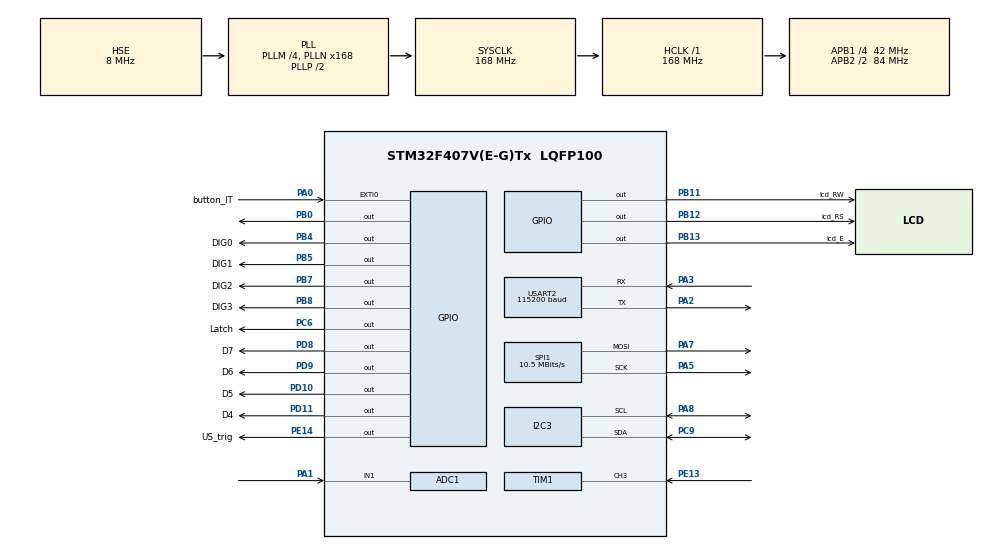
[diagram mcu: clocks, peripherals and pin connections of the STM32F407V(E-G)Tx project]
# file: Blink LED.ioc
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ADC1.Channel-0\#ChannelRegularConversion=ADC_CHANNEL_1
ADC1.ContinuousConvMode=ENABLE
ADC1.ExternalTrigConv=ADC_SOFTWARE_START
ADC1.NbrOfConversionFlag=1
ADC1.Rank-0\#ChannelRegularConversion=1
ADC1.Resolution=ADC_RESOLUTION_12B
ADC1.SamplingTime-0\#ChannelRegularConversion=ADC_SAMPLETIME_3CYCLES
ADC1.ScanConvMode=DISABLE
ADC1.master=1
I2C3.DualAddressMode=I2C_DUALADDRESS_DISABLE
I2C3.GeneralCallMode=I2C_GENERALCALL_DISABLE
I2C3.I2C_Mode=I2C_Fast
Mcu.Family=STM32F4
Mcu.Name=STM32F407V(E-G)Tx
Mcu.Package=LQFP100
NVIC.ADC_IRQn=true\:0\:0\:false\:false\:true\:true\:true\:true
NVIC.EXTI0_IRQn=true\:0\:0\:false\:false\:true\:true\:true\:true
NVIC.I2C3_EV_IRQn=true\:0\:0\:false\:false\:true\:true\:true\:true
NVIC.PriorityGroup=NVIC_PRIORITYGROUP_4
NVIC.SPI1_IRQn=true\:0\:0\:false\:false\:true\:true\:true\:true
NVIC.TIM1_CC_IRQn=true\:0\:0\:false\:false\:true\:true\:true\:true
NVIC.TIM4_IRQn=true\:0\:0\:false\:false\:true\:true\:true\:true
NVIC.USART2_IRQn=true\:0\:0\:false\:false\:true\:true\:true\:true
PA0-WKUP.GPIO_Label=button_IT
PA0-WKUP.Signal=GPXTI0
PA1.Signal=ADCx_IN1
PA13.Mode=Serial_Wire
PA13.Signal=SYS_JTMS-SWDIO
PA14.Mode=Serial_Wire
PA14.Signal=SYS_JTCK-SWCLK
PA2.Mode=Asynchronous
PA2.Signal=USART2_TX
PA3.Mode=Asynchronous
PA3.Signal=USART2_RX
PA5.Mode=TX_Only_Simplex_Unidirect_Master
PA5.Signal=SPI1_SCK
PA7.Mode=TX_Only_Simplex_Unidirect_Master
PA7.Signal=SPI1_MOSI
PA8.Mode=I2C
PA8.Signal=I2C3_SCL
PB0.Signal=GPIO_Output
PB11.GPIO_Label=lcd_RW
PB11.Signal=GPIO_Output
PB12.GPIO_Label=lcd_RS
PB12.Signal=GPIO_Output
PB13.GPIO_Label=lcd_E
PB13.Signal=GPIO_Output
PB4.GPIO_Label=DIG0
PB4.GPIO_Speed=GPIO_SPEED_FREQ_LOW
PB4.Signal=GPIO_Output
PB5.GPIO_Label=DIG1
PB5.GPIO_Speed=GPIO_SPEED_FREQ_LOW
PB5.Signal=GPIO_Output
PB7.GPIO_Label=DIG2
PB7.Signal=GPIO_Output
PB8.GPIO_Label=DIG3
PB8.Signal=GPIO_Output
PC6.GPIO_Label=Latch
PC6.PinState=GPIO_PIN_RESET
PC6.Signal=GPIO_Output
PC9.Mode=I2C
PC9.Signal=I2C3_SDA
PD10.GPIO_Label=D5
PD10.Signal=GPIO_Output
PD11.GPIO_Label=D4
PD11.Signal=GPIO_Output
PD8.GPIO_Label=D7
PD8.Signal=GPIO_Output
PD9.GPIO_Label=D6
PD9.Signal=GPIO_Output
PE13.Signal=S_TIM1_CH3
PE14.GPIO_Label=US_trig
PE14.Signal=GPIO_Output
PH0-OSC_IN.Mode=HSE-External-Oscillator
PH0-OSC_IN.Signal=RCC_OSC_IN
PH1-OSC_OUT.Mode=HSE-External-Oscillator
PH1-OSC_OUT.Signal=RCC_OSC_OUT
ProjectManager.HeapSize=0x200
ProjectManager.StackSize=0x400
ProjectManager.TargetToolchain=STM32CubeIDE
RCC.48MHZClocksFreq_Value=84000000
RCC.AHBFreq_Value=168000000
RCC.APB1CLKDivider=RCC_HCLK_DIV4
RCC.APB1Freq_Value=42000000
RCC.APB1TimFreq_Value=84000000
RCC.APB2CLKDivider=RCC_HCLK_DIV2
RCC.APB2Freq_Value=84000000
RCC.APB2TimFreq_Value=168000000
RCC.CortexFreq_Value=168000000
RCC.HCLKFreq_Value=168000000
RCC.HSE_VALUE=8000000
RCC.HSI_VALUE=16000000
RCC.LSE_Timout=5000
RCC.LSE_VALUE=32768
RCC.PLLM=4
RCC.PLLN=168
RCC.PLLSourceVirtual=RCC_PLLSOURCE_HSE
RCC.RCC_MCO1Source=RCC_MCO1SOURCE_PLLCLK
RCC.RCC_RTC_Clock_Source=RCC_RTCCLKSOURCE_LSI
RCC.RCC_RTC_Clock_SourceVirtual=RCC_RTCCLKSOURCE_HSE_DIV10
RCC.RCC_RTC_Clock_Source_FROM_HSE=RCC_RTCCLKSOURCE_HSE_DIV10
RCC.SYSCLKFreq_VALUE=168000000
RCC.SYSCLKSource=RCC_SYSCLKSOURCE_PLLCLK
RCC.VCOOutputFreq_Value=336000000
RTC.Date=4
RTC.Format=RTC_FORMAT_BIN
RTC.HourFormat=RTC_HOURFORMAT_24
RTC.Hours=12
RTC.Minutes=49
RTC.Month=RTC_MONTH_NOVEMBER
RTC.Seconds=23
RTC.SynchPrediv=255
RTC.WeekDay=RTC_WEEKDAY_FRIDAY
RTC.Year=22
SH.ADCx_IN1.0=ADC1_IN1,IN1
SH.S_TIM1_CH3.0=TIM1_CH3,Input_Capture3_from_TI3
SPI1.BaudRatePrescaler=SPI_BAUDRATEPRESCALER_8
SPI1.CalculateBaudRate=10.5 MBits/s
SPI1.Direction=SPI_DIRECTION_2LINES
SPI1.Mode=SPI_MODE_MASTER
SPI1.VirtualType=VM_MASTER
TIM1.Channel-Input_Capture3_from_TI3=TIM_CHANNEL_3
TIM1.Period=65536 - 1
TIM1.Prescaler=168 - 1
TIM4.AutoReloadPreload=TIM_AUTORELOAD_PRELOAD_DISABLE
TIM4.Period=10000 - 1
TIM4.Prescaler=8400 - 1
USART2.BaudRate=115200
USART2.VirtualMode=VM_ASYNC
VP_RTC_VS_RTC_Activate.Mode=RTC_Enabled
VP_RTC_VS_RTC_Calendar.Mode=RTC_Calendar
VP_TIM4_VS_ClockSourceINT.Mode=Internal
board=custom

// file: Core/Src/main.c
/* USER CODE BEGIN Header */
/**
  ******************************************************************************
  * @file           : main.c
  * @brief          : Main program body
  ******************************************************************************
  * @attention
  *
  * Copyright (c) 2022 STMicroelectronics.
  * All rights reserved.
  *
  * This software is licensed under terms that can be found in the LICENSE file
  * in the root directory of this software component.
  * If no LICENSE file comes with this software, it is provided AS-IS.
  *
  ******************************************************************************
  */
/* USER CODE END Header */
#include "main.h"

/* USER CODE BEGIN Includes */
#include "stdbool.h"
#include "button_debounce.h"
#include "stdio.h"
#include "lcd.h"
#include "tmp75.h"
#include "sonicsensor.h"
/* USER CODE END Includes */

ADC_HandleTypeDef hadc1;

I2C_HandleTypeDef hi2c3;

RTC_HandleTypeDef hrtc;

SPI_HandleTypeDef hspi1;

TIM_HandleTypeDef htim1;
TIM_HandleTypeDef htim4;

UART_HandleTypeDef huart2;

/* USER CODE BEGIN PV */
void LCD_print_HCSR04(uint8_t *distance);
void LCD_print_RTC(uint8_t *time, uint8_t *date);
/* USER CODE END PV */

void SystemClock_Config(void);
static void MX_GPIO_Init(void);
static void MX_TIM4_Init(void);
static void MX_USART2_UART_Init(void);
static void MX_ADC1_Init(void);
static void MX_SPI1_Init(void);
static void MX_RTC_Init(void);
static void MX_TIM1_Init(void);
static void MX_I2C3_Init(void);
/* USER CODE BEGIN PFP */

RTC_TimeTypeDef Time;
RTC_DateTypeDef Date;

Lcd_HandleTypeDef LCD_ret;
/* USER CODE END PFP */

/* USER CODE BEGIN 0 */
/*****************************************************GLOBAL VARIABLES***********************************************************/
uint8_t rtc_time[15] = {0};
uint8_t rtc_date[15] = {0};
uint16_t rtc_clock;

uint8_t tx_distance[20] = {0};

uint8_t tmp_buf[12];
uint16_t display_temp = 0;

uint8_t lcd_page = 0;
Lcd_PinType lcd_pins[4] = {D4_Pin, D5_Pin, D6_Pin, D7_Pin};
Lcd_PortType lcd_ports[4] = {D4_GPIO_Port, D5_GPIO_Port, D6_GPIO_Port, D7_GPIO_Port};

#define ADC_max htim4.Init.Period
uint16_t pot_value = 0;
uint8_t tx_adc[5] = {0};

/************************************************************************************************************************************/
/*********************************************************FUNCTIONS*****************************************************************/
//RTC date and time function
void rtcTimeDate(void)
{
//	static uint8_t mytime[50] = {0};
	HAL_RTC_GetTime(&hrtc, &Time, RTC_FORMAT_BIN);
	HAL_RTC_GetDate(&hrtc, &Date, RTC_FORMAT_BIN);
	sprintf((char*)rtc_time, "Time>%02d:%02d:%02d", Time.Hours, Time.Minutes, Time.Seconds);
	sprintf((char*)rtc_date, "Date>%02d-%02d-%d", Date.Date, Date.Month, 2000 + Date.Year);
//	sprintf((char*)mytime, "Time>%02d:%02d:%02d.%lu\r\nDate>%02d-%02d-%d\r\n", Time.Hours, Time.Minutes, Time.Seconds, Time.SubSeconds, Date.Date, Date.Month, 2000 + Date.Year);
	//	HAL_UART_Transmit_IT(&huart2, mytime, sizeof(mytime));
}

void delay_uS(uint16_t microsec)
{
	__HAL_TIM_SET_COUNTER(&htim1, 0);
	while(__HAL_TIM_GET_COUNTER(&htim1) < microsec);
}

void LCD_print_RTC(uint8_t *time, uint8_t *date){
	Lcd_cursor(&LCD_ret, 0, 0);
	Lcd_string(&LCD_ret, (char*)time);
	Lcd_cursor(&LCD_ret, 1, 0);
	Lcd_string(&LCD_ret, (char*)date);
}

void LCD_print_HCSR04(uint8_t *distance){
	  Lcd_cursor(&LCD_ret, 0, 0);
	  Lcd_string(&LCD_ret, "HC-SR04");
	  Lcd_cursor(&LCD_ret, 1, 0);
	  Lcd_string(&LCD_ret, "Distance: ");
	  Lcd_cursor(&LCD_ret, 1, 10);
	  Lcd_string(&LCD_ret, (char*)distance);
}

void LCD_print_Temp(void){
	Lcd_cursor(&LCD_ret, 0, 0);
	Lcd_string(&LCD_ret, "TMP75");
	Lcd_cursor(&LCD_ret, 1, 0);
	Lcd_string(&LCD_ret, "Temp: ");
	Lcd_cursor(&LCD_ret, 1, 6);
	Lcd_string(&LCD_ret, (char*)tmp_buf);
}

void LCD_Pages(void){
	if (lcd_page == 1) {
		LCD_print_RTC(rtc_time, rtc_date);
	}else if (lcd_page == 2) {
		LCD_print_Temp();
	}else if (lcd_page == 3) {
		LCD_print_HCSR04(tx_distance);
	}
}
/* USER CODE END 0 */

int main(void)
{

  /* MCU Configuration--------------------------------------------------------*/

  /* Reset of all peripherals, Initializes the Flash interface and the Systick. */
  HAL_Init();

  /* Configure the system clock */
  SystemClock_Config();

  /* Initialize all configured peripherals */
  MX_GPIO_Init();
  MX_TIM4_Init();
  MX_USART2_UART_Init();
  MX_ADC1_Init();
  MX_SPI1_Init();
  MX_RTC_Init();
  MX_TIM1_Init();
  MX_I2C3_Init();
  /* USER CODE BEGIN 2 */
  LCD_ret = Lcd_create(lcd_ports, lcd_pins, lcd_RS_GPIO_Port, lcd_RS_Pin, lcd_E_GPIO_Port, lcd_E_Pin, LCD_4_BIT_MODE);
  Lcd_cursor(&LCD_ret, 0, 1);
  Lcd_string(&LCD_ret, "*Press button*");
  HAL_TIM_IC_Start_IT(&htim1, TIM_CHANNEL_3);
  /* USER CODE END 2 */

  /* Infinite loop */
  while (1)
  {

    /* USER CODE BEGIN 3 */
	//  button_debounce2();
	  Button_debounce();
	  rtcTimeDate();
	  trig_sensor();
	  tmp75_read_temp(res_12bits);
	  LCD_Pages();
//	  displayDigits(display_cnt);
//	  HAL_ADC_Start_IT(&hadc1);
//	  button_debounce2(tx_adc);
//	  HAL_ADC_PollForConversion(&hadc1, 1);
//	  RX_uart_cmd();

  }
  /* USER CODE END 3 */
}

void SystemClock_Config(void)
{
  RCC_OscInitTypeDef RCC_OscInitStruct = {0};
  RCC_ClkInitTypeDef RCC_ClkInitStruct = {0};

  /** Configure the main internal regulator output voltage
  */
  __HAL_RCC_PWR_CLK_ENABLE();
  __HAL_PWR_VOLTAGESCALING_CONFIG(PWR_REGULATOR_VOLTAGE_SCALE1);

  /** Initializes the RCC Oscillators according to the specified parameters
  * in the RCC_OscInitTypeDef structure.
  */
  RCC_OscInitStruct.OscillatorType = RCC_OSCILLATORTYPE_LSI|RCC_OSCILLATORTYPE_HSE;
  RCC_OscInitStruct.HSEState = RCC_HSE_ON;
  RCC_OscInitStruct.LSIState = RCC_LSI_ON;
  RCC_OscInitStruct.PLL.PLLState = RCC_PLL_ON;
  RCC_OscInitStruct.PLL.PLLSource = RCC_PLLSOURCE_HSE;
  RCC_OscInitStruct.PLL.PLLM = 4;
  RCC_OscInitStruct.PLL.PLLN = 168;
  RCC_OscInitStruct.PLL.PLLP = RCC_PLLP_DIV2;
  RCC_OscInitStruct.PLL.PLLQ = 4;
  if (HAL_RCC_OscConfig(&RCC_OscInitStruct) != HAL_OK)
  {
    Error_Handler();
  }

  /** Initializes the CPU, AHB and APB buses clocks
  */
  RCC_ClkInitStruct.ClockType = RCC_CLOCKTYPE_HCLK|RCC_CLOCKTYPE_SYSCLK
                              |RCC_CLOCKTYPE_PCLK1|RCC_CLOCKTYPE_PCLK2;
  RCC_ClkInitStruct.SYSCLKSource = RCC_SYSCLKSOURCE_PLLCLK;
  RCC_ClkInitStruct.AHBCLKDivider = RCC_SYSCLK_DIV1;
  RCC_ClkInitStruct.APB1CLKDivider = RCC_HCLK_DIV4;
  RCC_ClkInitStruct.APB2CLKDivider = RCC_HCLK_DIV2;

  if (HAL_RCC_ClockConfig(&RCC_ClkInitStruct, FLASH_LATENCY_5) != HAL_OK)
  {
    Error_Handler();
  }
}

static void MX_ADC1_Init(void)
{

  ADC_ChannelConfTypeDef sConfig = {0};

  /** Configure the global features of the ADC (Clock, Resolution, Data Alignment and number of conversion)
  */
  hadc1.Instance = ADC1;
  hadc1.Init.ClockPrescaler = ADC_CLOCK_SYNC_PCLK_DIV4;
  hadc1.Init.Resolution = ADC_RESOLUTION_12B;
  hadc1.Init.ScanConvMode = DISABLE;
  hadc1.Init.ContinuousConvMode = ENABLE;
  hadc1.Init.DiscontinuousConvMode = DISABLE;
  hadc1.Init.ExternalTrigConvEdge = ADC_EXTERNALTRIGCONVEDGE_NONE;
  hadc1.Init.ExternalTrigConv = ADC_SOFTWARE_START;
  hadc1.Init.DataAlign = ADC_DATAALIGN_RIGHT;
  hadc1.Init.NbrOfConversion = 1;
  hadc1.Init.DMAContinuousRequests = DISABLE;
  hadc1.Init.EOCSelection = ADC_EOC_SINGLE_CONV;
  if (HAL_ADC_Init(&hadc1) != HAL_OK)
  {
    Error_Handler();
  }

  /** Configure for the selected ADC regular channel its corresponding rank in the sequencer and its sample time.
  */
  sConfig.Channel = ADC_CHANNEL_1;
  sConfig.Rank = 1;
  sConfig.SamplingTime = ADC_SAMPLETIME_3CYCLES;
  if (HAL_ADC_ConfigChannel(&hadc1, &sConfig) != HAL_OK)
  {
    Error_Handler();
  }

}

static void MX_I2C3_Init(void)
{

  hi2c3.Instance = I2C3;
  hi2c3.Init.ClockSpeed = 400000;
  hi2c3.Init.DutyCycle = I2C_DUTYCYCLE_2;
  hi2c3.Init.OwnAddress1 = 0;
  hi2c3.Init.AddressingMode = I2C_ADDRESSINGMODE_7BIT;
  hi2c3.Init.DualAddressMode = I2C_DUALADDRESS_DISABLE;
  hi2c3.Init.OwnAddress2 = 0;
  hi2c3.Init.GeneralCallMode = I2C_GENERALCALL_DISABLE;
  hi2c3.Init.NoStretchMode = I2C_NOSTRETCH_DISABLE;
  if (HAL_I2C_Init(&hi2c3) != HAL_OK)
  {
    Error_Handler();
  }

}

static void MX_RTC_Init(void)
{

  RTC_TimeTypeDef sTime = {0};
  RTC_DateTypeDef sDate = {0};

  /** Initialize RTC Only
  */
  hrtc.Instance = RTC;
  hrtc.Init.HourFormat = RTC_HOURFORMAT_24;
  hrtc.Init.AsynchPrediv = 127;
  hrtc.Init.SynchPrediv = 255;
  hrtc.Init.OutPut = RTC_OUTPUT_DISABLE;
  hrtc.Init.OutPutPolarity = RTC_OUTPUT_POLARITY_HIGH;
  hrtc.Init.OutPutType = RTC_OUTPUT_TYPE_OPENDRAIN;
  if (HAL_RTC_Init(&hrtc) != HAL_OK)
  {
    Error_Handler();
  }

  /** Initialize RTC and set the Time and Date
  */
  sTime.Hours = 12;
  sTime.Minutes = 29;
  sTime.Seconds = 23;
  sTime.DayLightSaving = RTC_DAYLIGHTSAVING_NONE;
  sTime.StoreOperation = RTC_STOREOPERATION_RESET;
  if (HAL_RTC_SetTime(&hrtc, &sTime, RTC_FORMAT_BIN) != HAL_OK)
  {
    Error_Handler();
  }
  sDate.WeekDay = RTC_WEEKDAY_SATURDAY;
  sDate.Month = RTC_MONTH_NOVEMBER;
  sDate.Date = 19;
  sDate.Year = 22;

  if (HAL_RTC_SetDate(&hrtc, &sDate, RTC_FORMAT_BIN) != HAL_OK)
  {
    Error_Handler();
  }

}

static void MX_SPI1_Init(void)
{

  /* SPI1 parameter configuration*/
  hspi1.Instance = SPI1;
  hspi1.Init.Mode = SPI_MODE_MASTER;
  hspi1.Init.Direction = SPI_DIRECTION_2LINES;
  hspi1.Init.DataSize = SPI_DATASIZE_8BIT;
  hspi1.Init.CLKPolarity = SPI_POLARITY_LOW;
  hspi1.Init.CLKPhase = SPI_PHASE_1EDGE;
  hspi1.Init.NSS = SPI_NSS_SOFT;
  hspi1.Init.BaudRatePrescaler = SPI_BAUDRATEPRESCALER_8;
  hspi1.Init.FirstBit = SPI_FIRSTBIT_MSB;
  hspi1.Init.TIMode = SPI_TIMODE_DISABLE;
  hspi1.Init.CRCCalculation = SPI_CRCCALCULATION_DISABLE;
  hspi1.Init.CRCPolynomial = 10;
  if (HAL_SPI_Init(&hspi1) != HAL_OK)
  {
    Error_Handler();
  }

}

static void MX_TIM1_Init(void)
{

  TIM_MasterConfigTypeDef sMasterConfig = {0};
  TIM_IC_InitTypeDef sConfigIC = {0};

  htim1.Instance = TIM1;
  htim1.Init.Prescaler = 168 - 1;
  htim1.Init.CounterMode = TIM_COUNTERMODE_UP;
  htim1.Init.Period = 65536 - 1;
  htim1.Init.ClockDivision = TIM_CLOCKDIVISION_DIV1;
  htim1.Init.RepetitionCounter = 0;
  htim1.Init.AutoReloadPreload = TIM_AUTORELOAD_PRELOAD_DISABLE;
  if (HAL_TIM_IC_Init(&htim1) != HAL_OK)
  {
    Error_Handler();
  }
  sMasterConfig.MasterOutputTrigger = TIM_TRGO_RESET;
  sMasterConfig.MasterSlaveMode = TIM_MASTERSLAVEMODE_DISABLE;
  if (HAL_TIMEx_MasterConfigSynchronization(&htim1, &sMasterConfig) != HAL_OK)
  {
    Error_Handler();
  }
  sConfigIC.ICPolarity = TIM_INPUTCHANNELPOLARITY_RISING;
  sConfigIC.ICSelection = TIM_ICSELECTION_DIRECTTI;
  sConfigIC.ICPrescaler = TIM_ICPSC_DIV1;
  sConfigIC.ICFilter = 0;
  if (HAL_TIM_IC_ConfigChannel(&htim1, &sConfigIC, TIM_CHANNEL_3) != HAL_OK)
  {
    Error_Handler();
  }

}

static void MX_TIM4_Init(void)
{

  TIM_ClockConfigTypeDef sClockSourceConfig = {0};
  TIM_MasterConfigTypeDef sMasterConfig = {0};

  htim4.Instance = TIM4;
  htim4.Init.Prescaler = 8400 - 1;
  htim4.Init.CounterMode = TIM_COUNTERMODE_UP;
  htim4.Init.Period = 10000 - 1;
  htim4.Init.ClockDivision = TIM_CLOCKDIVISION_DIV1;
  htim4.Init.AutoReloadPreload = TIM_AUTORELOAD_PRELOAD_DISABLE;
  if (HAL_TIM_Base_Init(&htim4) != HAL_OK)
  {
    Error_Handler();
  }
  sClockSourceConfig.ClockSource = TIM_CLOCKSOURCE_INTERNAL;
  if (HAL_TIM_ConfigClockSource(&htim4, &sClockSourceConfig) != HAL_OK)
  {
    Error_Handler();
  }
  sMasterConfig.MasterOutputTrigger = TIM_TRGO_RESET;
  sMasterConfig.MasterSlaveMode = TIM_MASTERSLAVEMODE_DISABLE;
  if (HAL_TIMEx_MasterConfigSynchronization(&htim4, &sMasterConfig) != HAL_OK)
  {
    Error_Handler();
  }

}

static void MX_USART2_UART_Init(void)
{

  huart2.Instance = USART2;
  huart2.Init.BaudRate = 115200;
  huart2.Init.WordLength = UART_WORDLENGTH_8B;
  huart2.Init.StopBits = UART_STOPBITS_1;
  huart2.Init.Parity = UART_PARITY_NONE;
  huart2.Init.Mode = UART_MODE_TX_RX;
  huart2.Init.HwFlowCtl = UART_HWCONTROL_NONE;
  huart2.Init.OverSampling = UART_OVERSAMPLING_16;
  if (HAL_UART_Init(&huart2) != HAL_OK)
  {
    Error_Handler();
  }

}

static void MX_GPIO_Init(void)
{
  GPIO_InitTypeDef GPIO_InitStruct = {0};

  /* GPIO Ports Clock Enable */
  __HAL_RCC_GPIOH_CLK_ENABLE();
  __HAL_RCC_GPIOA_CLK_ENABLE();
  __HAL_RCC_GPIOB_CLK_ENABLE();
  __HAL_RCC_GPIOE_CLK_ENABLE();
  __HAL_RCC_GPIOD_CLK_ENABLE();
  __HAL_RCC_GPIOC_CLK_ENABLE();

  /*Configure GPIO pin Output Level */
  HAL_GPIO_WritePin(GPIOB, GPIO_PIN_0|lcd_RW_Pin|lcd_RS_Pin|lcd_E_Pin
                          |DIG0_Pin|DIG1_Pin|DIG2_Pin|DIG3_Pin, GPIO_PIN_RESET);

  /*Configure GPIO pin Output Level */
  HAL_GPIO_WritePin(US_trig_GPIO_Port, US_trig_Pin, GPIO_PIN_RESET);

  /*Configure GPIO pin Output Level */
  HAL_GPIO_WritePin(GPIOD, D7_Pin|D6_Pin|D5_Pin|D4_Pin, GPIO_PIN_RESET);

  /*Configure GPIO pin Output Level */
  HAL_GPIO_WritePin(Latch_GPIO_Port, Latch_Pin, GPIO_PIN_RESET);

  /*Configure GPIO pin : button_IT_Pin */
  GPIO_InitStruct.Pin = button_IT_Pin;
  GPIO_InitStruct.Mode = GPIO_MODE_IT_RISING;
  GPIO_InitStruct.Pull = GPIO_NOPULL;
  HAL_GPIO_Init(button_IT_GPIO_Port, &GPIO_InitStruct);

  /*Configure GPIO pins : PB0 lcd_RW_Pin lcd_RS_Pin lcd_E_Pin
                           DIG0_Pin DIG1_Pin DIG2_Pin DIG3_Pin */
  GPIO_InitStruct.Pin = GPIO_PIN_0|lcd_RW_Pin|lcd_RS_Pin|lcd_E_Pin
                          |DIG0_Pin|DIG1_Pin|DIG2_Pin|DIG3_Pin;
  GPIO_InitStruct.Mode = GPIO_MODE_OUTPUT_PP;
  GPIO_InitStruct.Pull = GPIO_NOPULL;
  GPIO_InitStruct.Speed = GPIO_SPEED_FREQ_LOW;
  HAL_GPIO_Init(GPIOB, &GPIO_InitStruct);

  /*Configure GPIO pin : US_trig_Pin */
  GPIO_InitStruct.Pin = US_trig_Pin;
  GPIO_InitStruct.Mode = GPIO_MODE_OUTPUT_PP;
  GPIO_InitStruct.Pull = GPIO_NOPULL;
  GPIO_InitStruct.Speed = GPIO_SPEED_FREQ_LOW;
  HAL_GPIO_Init(US_trig_GPIO_Port, &GPIO_InitStruct);

  /*Configure GPIO pins : D7_Pin D6_Pin D5_Pin D4_Pin */
  GPIO_InitStruct.Pin = D7_Pin|D6_Pin|D5_Pin|D4_Pin;
  GPIO_InitStruct.Mode = GPIO_MODE_OUTPUT_PP;
  GPIO_InitStruct.Pull = GPIO_NOPULL;
  GPIO_InitStruct.Speed = GPIO_SPEED_FREQ_LOW;
  HAL_GPIO_Init(GPIOD, &GPIO_InitStruct);

  /*Configure GPIO pin : Latch_Pin */
  GPIO_InitStruct.Pin = Latch_Pin;
  GPIO_InitStruct.Mode = GPIO_MODE_OUTPUT_PP;
  GPIO_InitStruct.Pull = GPIO_NOPULL;
  GPIO_InitStruct.Speed = GPIO_SPEED_FREQ_LOW;
  HAL_GPIO_Init(Latch_GPIO_Port, &GPIO_InitStruct);

  /* EXTI interrupt init*/
  HAL_NVIC_SetPriority(EXTI0_IRQn, 0, 0);
  HAL_NVIC_EnableIRQ(EXTI0_IRQn);

}

/* USER CODE BEGIN 4 */

//ADC1 interrupt
#if 0
void HAL_ADC_ConvCpltCallback(ADC_HandleTypeDef* hadc)
{
	unsigned int display_value;

	pot_value = HAL_ADC_GetValue(&hadc1);
	sprintf((char *)tx_adc, "%d", pot_value);

	if (pot_value <= ADC_max/10)
	{
		display_value = 0;
	}
	else if (pot_value > ADC_max/10 && pot_value <= (ADC_max/10)*2)
	{
		display_value = 1;
	}
	else if (pot_value > (ADC_max/10)*2 && pot_value <= (ADC_max/10)*3)
	{
		display_value = 2;
	}
	else if (pot_value > (ADC_max/10)*3 && pot_value <= (ADC_max/10)*4)
	{
		display_value = 3;
	}
	else if (pot_value > (ADC_max/10)*4 && pot_value <= (ADC_max/10)*5)
	{
		display_value = 4;
	}
	else if (pot_value > (ADC_max/10)*5 && pot_value <= (ADC_max/10)*6)
	{
		display_value = 5;
	}
	else if (pot_value > (ADC_max/10)*6 && pot_value <= (ADC_max/10)*7)
	{
		display_value = 6;
	}
	else if (pot_value > (ADC_max/10)*7 && pot_value <= (ADC_max/10)*8)
	{
		display_value = 7;
	}
	else if (pot_value > (ADC_max/10)*8 && pot_value <= (ADC_max/10)*9)
	{
		display_value = 8;
	}
	else if (pot_value > (ADC_max/10)*9 && pot_value <= ADC_max)
	{
		display_value = 9;
	}
//	seven_segment_display(display_value);
	__HAL_TIM_SET_COMPARE(&htim4, TIM_CHANNEL_1, pot_value);
}
#endif

//Button interrupt callback

//void HAL_GPIO_EXTI_Callback(uint16_t GPIO_Pin){
//	if (GPIO_Pin == button_IT_Pin) {
//		uint8_t page_num = 3;
//		if (++lcd_page > page_num) {
//			lcd_page = 1;
//		}
//	}
//}

//Callback: timer has reset
//void HAL_TIM_PeriodElapsedCallback(TIM_HandleTypeDef *htim)
//{
//	if (htim == &htim10)
//	{
//		HAL_GPIO_WritePin(GPIOB, GPIO_PIN_0, GPIO_PIN_RESET);
//	}
//
//}

/* USER CODE END 4 */

void Error_Handler(void)
{
  __disable_irq();
  while (1)
  {
  }
}
